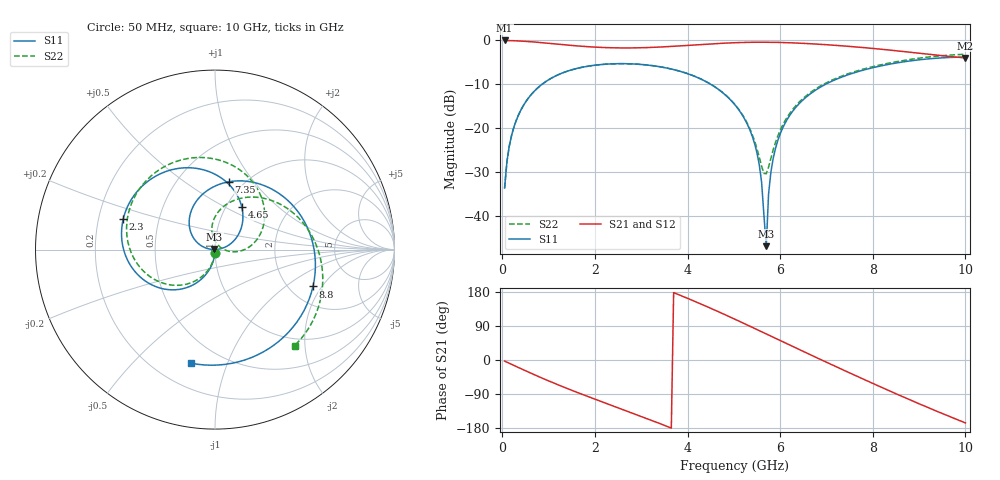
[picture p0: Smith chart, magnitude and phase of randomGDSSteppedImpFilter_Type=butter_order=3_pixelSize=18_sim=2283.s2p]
! freq	dB(S11)	phase(S11)	dB(S12)	phase(S12)
!  dB(S21)	phase(S21)	dB(S22)	phase(S22)
!S-par simulation data
#  GHz  S  DB  R 50
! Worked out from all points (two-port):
!   200 points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, 50 MHz to 10 GHz, reference 50 ohm
!   highest |S21| = -0.01 dB at 50 MHz (marker M1); lowest = -4.0 dB at 10 GHz (marker M2)
!   |S21| within 3 dB of the highest: start of sweep to 9.073 GHz
!   lowest |S11| = -46.9 dB at 5.7 GHz (marker M3), VSWR 1.01, Z = 49.6 + j0.182 ohm
!   |S11| at or under -10 dB: start of sweep to 859.4 MHz; 4.5 GHz to 6.982 GHz (2.482 GHz wide, 43.2 % of centre)
!   |S22| runs from -33.7 to -3.2 dB; largest |S21 - S12| = 0
!   S11 on the Smith chart (normalised r, x): 50 MHz: 1.00, -0.04; 2.3 GHz: 0.31, +0.15; 4.65 GHz: 1.18, +0.61; 7.35 GHz: 0.86, +0.76; 8.8 GHz: 2.66, -1.65; 10 GHz: 0.34, -0.75
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0.05  -33.66 -92.7  -0.01 -2.9  -0.01 -2.9  -33.66 -93.0
0.2  -21.69 -101.1  -0.05 -11.5  -0.05 -11.5  -21.70 -102.7
0.5  -14.10 -117.0  -0.21 -28.3  -0.21 -28.3  -14.10 -120.8
1.1  -8.37 -146.5  -0.76 -60.2  -0.76 -60.2  -8.38 -154.9
1.75  -6.06 -175.5  -1.36 -91.8  -1.36 -91.8  -6.07 170.8
2.3  -5.37 161.7  -1.66 -117.0  -1.66 -117.0  -5.38 143.4
3.4  -6.00 116.2  -1.51 -167.6  -1.51 -167.6  -6.00 88.4
4.05  -7.77 87.1  -1.10 160.2  -1.10 160.2  -7.75 54.2
4.65  -11.04 57.9  -0.71 128.4  -0.71 128.4  -11.00 22.1
5.05  -15.03 37.1  -0.51 106.1  -0.51 106.1  -14.95 2.3
5.5  -25.67 12.6  -0.41 80.3  -0.41 80.3  -24.70 -3.0
5.6  -32.39 7.5  -0.41 74.6  -0.41 74.6  -28.72 14.3
5.7  -46.93 155.9  -0.41 68.8  -0.41 68.8  -30.40 57.4
5.75  -35.02 176.5  -0.42 65.9  -0.42 65.9  -28.89 76.9
5.8  -30.03 174.2  -0.42 63.0  -0.42 63.0  -26.86 88.8
5.95  -22.82 165.9  -0.45 54.3  -0.45 54.3  -21.79 99.7
6.7  -11.80 120.5  -0.78 11.1  -0.78 11.1  -11.53 74.7
7.35  -8.28 78.5  -1.24 -25.7  -1.24 -25.7  -8.05 46.1
8.35  -5.44 10.5  -2.19 -80.9  -2.19 -80.9  -5.17 6.4
8.8  -4.68 -20.6  -2.69 -105.0  -2.69 -105.0  -4.35 -10.0
9.45  -4.01 -65.0  -3.44 -138.6  -3.44 -138.6  -3.52 -32.4
10  -3.78 -102.0  -3.98 -166.0  -3.98 -166.0  -3.16 -50.4
